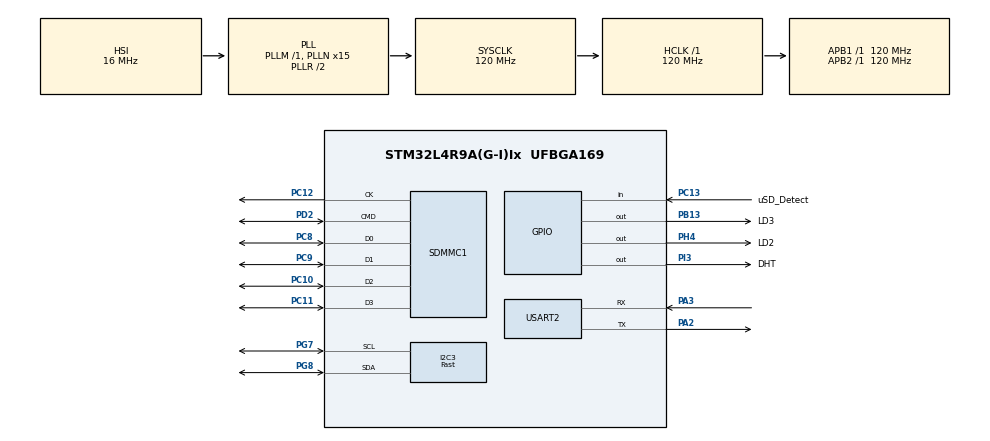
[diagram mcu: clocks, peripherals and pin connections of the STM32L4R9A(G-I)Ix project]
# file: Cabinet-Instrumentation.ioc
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FATFS.BSP.number=1
FATFS.USE_DMA_CODE_SD=1
FATFS0.BSP.STBoard=false
FATFS0.BSP.api=Unknown
FATFS0.BSP.instance=PC13
FATFS0.BSP.ip=GPIO
FATFS0.BSP.mode=Input
FATFS0.BSP.name=Detect_SDIO
FATFS0.BSP.solution=PC13
I2C3.I2C_Speed_Mode=I2C_Fast
I2C3.Timing=0x00B03FDB
Mcu.Family=STM32L4
Mcu.Name=STM32L4R9A(G-I)Ix
Mcu.Package=UFBGA169
NVIC.PriorityGroup=NVIC_PRIORITYGROUP_4
NVIC.SDMMC1_IRQn=true\:0\:0\:false\:false\:true\:true\:true\:true
NVIC.TIM2_IRQn=true\:0\:0\:false\:false\:true\:true\:true\:true
PA13\ (JTMS/SWDIO).Mode=Serial_Wire
PA13\ (JTMS/SWDIO).Signal=SYS_JTMS-SWDIO
PA14\ (JTCK/SWCLK).Mode=Serial_Wire
PA14\ (JTCK/SWCLK).Signal=SYS_JTCK-SWCLK
PA2.Mode=Asynchronous
PA2.Signal=USART2_TX
PA3.Mode=Asynchronous
PA3.Signal=USART2_RX
PB13.GPIO_Label=LD3
PB13.GPIO_Speed=GPIO_SPEED_FREQ_HIGH
PB13.PinState=GPIO_PIN_SET
PB13.Signal=GPIO_Output
PC10.Mode=SD_4_bits_Wide_bus
PC10.Signal=SDMMC1_D2
PC11.Mode=SD_4_bits_Wide_bus
PC11.Signal=SDMMC1_D3
PC12.Mode=SD_4_bits_Wide_bus
PC12.Signal=SDMMC1_CK
PC13.GPIO_Label=uSD_Detect
PC13.Signal=GPIO_Input
PC8.Mode=SD_4_bits_Wide_bus
PC8.Signal=SDMMC1_D0
PC9.Mode=SD_4_bits_Wide_bus
PC9.Signal=SDMMC1_D1
PD2.Mode=SD_4_bits_Wide_bus
PD2.Signal=SDMMC1_CMD
PG7.Mode=I2C
PG7.Signal=I2C3_SCL
PG8.Mode=I2C
PG8.Signal=I2C3_SDA
PH0-OSC_IN\ (PH0).Mode=HSE-External-Oscillator
PH0-OSC_IN\ (PH0).Signal=RCC_OSC_IN
PH1-OSC_OUT\ (PH1).Mode=HSE-External-Oscillator
PH1-OSC_OUT\ (PH1).Signal=RCC_OSC_OUT
PH4.GPIO_Label=LD2
PH4.GPIO_Speed=GPIO_SPEED_FREQ_HIGH
PH4.PinState=GPIO_PIN_SET
PH4.Signal=GPIO_Output
PI3.GPIO_Label=DHT
PI3.GPIO_Speed=GPIO_SPEED_FREQ_HIGH
PI3.PinState=GPIO_PIN_SET
PI3.Signal=GPIO_Output
ProjectManager.HeapSize=0x400
ProjectManager.StackSize=0x800
ProjectManager.TargetToolchain=STM32CubeIDE
RCC.ADCCLockSelection=RCC_ADCCLKSOURCE_SYSCLK
RCC.ADCFreq_Value=120000000
RCC.AHBFreq_Value=120000000
RCC.APB1Freq_Value=120000000
RCC.APB1TimFreq_Value=120000000
RCC.APB2Freq_Value=120000000
RCC.APB2TimFreq_Value=120000000
RCC.CortexFreq_Value=120000000
RCC.HCLKFreq_Value=120000000
RCC.HSE_VALUE=8000000
RCC.HSI48_VALUE=48000000
RCC.HSI_VALUE=16000000
RCC.LSE_VALUE=32768
RCC.MSI_VALUE=4000000
RCC.PLLN=15
RCC.PLLSAI1N=16
RCC.PLLSourceVirtual=RCC_PLLSOURCE_HSI
RCC.SYSCLKFreq_VALUE=120000000
RCC.SYSCLKSource=RCC_SYSCLKSOURCE_PLLCLK
RCC.USBFreq_Value=128000000
RCC.VCOOutputFreq_Value=240000000
SDMMC1.HardwareFlowControl=SDMMC_HARDWARE_FLOW_CONTROL_DISABLE
SYS.VoltageScaling=SYSCFG_VREFBUF_VOLTAGE_SCALE1
TIM2.AutoReloadPreload=TIM_AUTORELOAD_PRELOAD_DISABLE
TIM2.Period=1000-1
TIM2.Prescaler=120-1
TIM6.Period=0xFFFF -1
TIM6.Prescaler=120-1
USART2.Parity=PARITY_EVEN
USART2.VirtualMode-Asynchronous=VM_ASYNC
VP_FATFS_VS_SDIO.Mode=SDIO
VP_TIM2_VS_ClockSourceINT.Mode=Internal
VP_TIM6_VS_ClockSourceINT.Mode=Enable_Timer
VREF+.Mode=InternalMode
VREF+.Signal=VREFBUF_OUT
board=custom

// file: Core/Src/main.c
/* USER CODE BEGIN Header */
/**
  ******************************************************************************
  * @file           : main.c
  * @brief          : Main program body
  ******************************************************************************
  * @attention
  *
  * Copyright (c) 2023 STMicroelectronics.
  * All rights reserved.
  *
  * This software is licensed under terms that can be found in the LICENSE file
  * in the root directory of this software component.
  * If no LICENSE file comes with this software, it is provided AS-IS.
  *
  ******************************************************************************
  */
/* USER CODE END Header */
#include "main.h"
#include "fatfs.h"

/* USER CODE BEGIN Includes */
#include <stdio.h>
#include <stdbool.h>
#include <string.h>
#include <math.h>
#include "i2c-lcd.h"
#include "lis3dh.h"
#include "dht.h"
#include "tmp117.h"

/* USER CODE END Includes */

/* USER CODE BEGIN PTD */
typedef struct {
  GPIO_TypeDef* dht_port;
  uint16_t dht_pin;
  float temperature;
  float humidity;
} dht_t;
/* USER CODE END PTD */

/* USER CODE BEGIN PD */
#define DHT
#define LIS3DH
/* USER CODE END PD */

I2C_HandleTypeDef hi2c3;

SD_HandleTypeDef hsd1;

TIM_HandleTypeDef htim2;
TIM_HandleTypeDef htim6;

UART_HandleTypeDef huart2;

/* USER CODE BEGIN PV */
bool lcd=1;

/**** Timer related ****/
volatile uint32_t msec=0;
uint32_t dht_millis=0, lis3dh_millis=0, timer_millis=0;
char timer_buffer[9];

/**** DHT22 related ****/
#define DHT22_FREQ 20000 /* Get data every 1 minute */
dht_t *dht = NULL;
uint8_t dht_num;
float tmp117=0;

/**** SD Card related ****/
FIL accelerometer, thermohygrometer, dht_parameters; /* File */
FRESULT fresult; /* FatFs function common result code */
volatile uint32_t byteswritten;/* File write counts */
char read_buffer[20], acc_buffer[20], temp_buffer_sd[150], temp_buffer_lcd[20], timer_lcd[7];

/**** Accelerometer related ****/
stmdev_ctx_t dev_ctx;
int16_t data_raw_acceleration;
float acceleration_mg;

/* USER CODE END PV */

void SystemClock_Config(void);
static void MX_GPIO_Init(void);
static void MX_USART2_UART_Init(void);
static void MX_SDMMC1_SD_Init(void);
static void MX_I2C3_Init(void);
static void MX_TIM6_Init(void);
static void MX_TIM2_Init(void);
/* USER CODE BEGIN PFP */
#define PUTCHAR_PROTOTYPE int __io_putchar(int ch)

/* USER CODE END PFP */

/* USER CODE BEGIN 0 */
void MicroDelay (uint16_t time){
	__HAL_TIM_SET_COUNTER(&htim6, 0);
	while ((__HAL_TIM_GET_COUNTER(&htim6))<time);
}

void HAL_TIM_PeriodElapsedCallback(TIM_HandleTypeDef *htim){
  if (htim == &htim2){
    msec++;
  }
}

GPIO_TypeDef* GetGpioFromString(const char* gpio_string){
	if (strcmp(gpio_string,"GPIOA")==0) return GPIOA;
	else if (strcmp(gpio_string,"GPIOB")==0) return GPIOB;
	else if (strcmp(gpio_string,"GPIOC")==0) return GPIOC;
	else if (strcmp(gpio_string,"GPIOI")==0) return GPIOI;
	else {printf("Detect nothing\r\n"); return NULL;}
}
/* USER CODE END 0 */

int main(void)
{

  /* MCU Configuration--------------------------------------------------------*/

  /* Reset of all peripherals, Initializes the Flash interface and the Systick. */
  HAL_Init();

  /* Configure the system clock */
  SystemClock_Config();

  /* Initialize all configured peripherals */
  MX_GPIO_Init();
  MX_USART2_UART_Init();
  MX_SDMMC1_SD_Init();
  MX_FATFS_Init();
  MX_I2C3_Init();
  MX_TIM6_Init();
  MX_TIM2_Init();
  /* USER CODE BEGIN 2 */

  HAL_TIM_Base_Start(&htim6);

  printf("\r\n");

  /* Initialise I2C hardwares */
  if(lcd) LcdInit();
//  Lis3dhInit(&dev_ctx, &hi2c3);
//  Tmp117_Init(hi2c3);

  /* Initialise logging file */
  if(f_mount(&SDFatFS, (TCHAR const*)SDPath, 1) != FR_OK) /* Mount uSD card */
    printf("ERROR in mounting uSD CARD...\r\n");
  else {
  	printf("uSD CARD mounted SUCCESSFULLY\r\n");

  	/* Read parameters from DHT_PARA.TXT file, initialise DHTs */
  	if(f_open(&dht_parameters, "DHT_PARA.TXT", FA_READ) != FR_OK)	printf("Can't open DHT_PARA.TXT\r\n");
  	else {
  		printf("DHT_PARA.TXT can be opened\r\n");
  		/* Read number of DHTs (first line of TXT file) and re-allocated the array */
  		if (f_gets(read_buffer, sizeof(read_buffer), &dht_parameters) != NULL){
  			dht_num = atoi(strchr(read_buffer, ':')+1);
  			dht = malloc(dht_num * sizeof(dht_t));
  		}
  		/* Read DHTs GPIO Port and GPIO Pin (the remaining lines) */
  		uint8_t dht_count=0;
  		for (uint8_t i=0; i<dht_num; i++){
  			if(f_gets(read_buffer, sizeof(read_buffer), &dht_parameters) != NULL){
  				dht_count++;
  				char gpio_port[6];
  				strncpy(gpio_port, strchr(read_buffer, ',')+1, 5); /* Get string "GPIOX" from read buffer */
  				gpio_port[5]= '\0'; /* NULL Terminator */

  				dht[i].dht_port = GetGpioFromString(gpio_port);
  				dht[i].dht_pin = pow(2,atoi(strchr(strchr(read_buffer, ',')+1, ',')+1)); /* Refer to #define GPIO_PIN_x (DEC)2^x */
  				printf("%i %s%i | ",i+1,gpio_port,(uint8_t)log2(dht[i].dht_pin));
  			}
  		}
			printf("\r\nNumber of DHTs initialised from TXT file: %i\r\n",dht_num);
  		printf("Number of DHTs can be read from TXT file: %i\r\n",dht_count);
  		if (dht_count < dht_num) dht_num = dht_count;
  		f_close(&dht_parameters); /* Close TXT file */
  	}
  	/* Initialise TEMP_LOG.TXT file */
  	if(f_open(&thermohygrometer, "TEMP_LOG.TXT", FA_OPEN_APPEND | FA_WRITE) != FR_OK)	printf("Can't create/open TEMP.TXT\r\n");
  	else {
  		printf("TEMP_LOG.TXT can be created\r\n");
  		if (f_write(&thermohygrometer, "Starting logging data to TEMP_LOG.TXT\r\n", 42, (void *)&byteswritten) != FR_OK) printf("Write error\r\n");
  		else{
  			printf("TEMP_LOG.TXT created and data is written\r\n");
  			f_close(&thermohygrometer); /* Close TXT file */
  		}
  	}
  	/* Initialise ACC_LOG.TXT file */
  	if(f_open(&accelerometer, "ACC_LOG.TXT", FA_OPEN_APPEND | FA_WRITE) != FR_OK) printf("Can't create/open ACC_LOG.TXT\r\n");
  	else {
  		printf("ACC_LOG.TXT can be created\r\n");
  		if (f_write(&accelerometer, "Starting logging data to ACC_LOG.TXT...\r\n", 41, (void *)&byteswritten) != FR_OK) printf("Write error\r\n");
  		else{
  			printf("ACC_LOG.TXT created and data is written\r\n");
	  		f_close(&accelerometer); /* Close TXT file */
  		}
  	}
  }
  /* Start Timer2 */
  HAL_TIM_Base_Start_IT(&htim2);

  printf("\r\n");
  HAL_GPIO_WritePin(LD2_GPIO_Port, LD2_Pin, GPIO_PIN_RESET); /* Turn LD2 on to confirm all components are initialised succesfully */
  /* USER CODE END 2 */

  /* Infinite loop */
  /* USER CODE BEGIN WHILE */
  while (1)
  {
#if defined(LIS3DHH)
  	if(HAL_GetTick() - lis3dh_millis >= 10000){
  		lis3dh_millis = HAL_GetTick();

//  		f_open(&accelerometer, "ACC_LOG.TXT", FA_OPEN_APPEND | FA_WRITE);
  		while(HAL_GetTick() - lis3dh_millis <= 5000){
  			lis3dh_acceleration_raw_get_z(&dev_ctx, &data_raw_acceleration);
  			acceleration_mg = (lis3dh_from_fs4_hr_to_mg(data_raw_acceleration));//-(-48))*1.4359 + (-441.6);
  			sprintf(acc_buffer, "%li, %.2f\t\r\n", HAL_GetTick(), acceleration_mg);
//  			f_write(&accelerometer, acc_buffer, strlen((char *)acc_buffer), (void *)&byteswritten); /* Write to TXT file */
  			printf(acc_buffer);
  		}
//  		if (f_close(&accelerometer) == FR_OK) printf("Write and close successfully\r\n"); /* Close TXT file */
  	}
#endif

#if defined(DHT)
  	/* Get temperature/humidity data and log to TXT file */
  	if (HAL_GetTick() - dht_millis >= 5000){
  		dht_millis = HAL_GetTick();

  		/* Read temperature and humidity from DHTs */
  		for (uint8_t i=0; i<dht_num; i++){
  			Dht22(dht[i].dht_port, dht[i].dht_pin, &dht[i].temperature, &dht[i].humidity);
  		}
//  		tmp117 = TMP117_get_Temperature(hi2c3);

  		/* Create string to write to file */
  		uint8_t buffer_offset=0, buffer_offset_lcd=0;
  		buffer_offset += sprintf(temp_buffer_sd + buffer_offset, "%li", HAL_GetTick());
  		for (uint8_t i=0; i<dht_num; i++){
  			buffer_offset += sprintf(temp_buffer_sd + buffer_offset, ", %.2f,%.2f", dht[i].temperature, dht[i].humidity);
  			buffer_offset_lcd += sprintf(temp_buffer_lcd+buffer_offset_lcd, "%.1f  ",dht[i].temperature);
      }
//  		buffer_offset += sprintf(temp_buffer_sd + buffer_offset, ", %.2f", tmp117);
  		sprintf(temp_buffer_sd + buffer_offset, "\r\n");
  		sprintf(timer_lcd, "%li",(dht_millis/1000));

  		/* Logging to TXT file and debugging */
  		fresult = f_open(&thermohygrometer, "TEMP_LOG.TXT", FA_OPEN_APPEND | FA_WRITE); /* Open TXT file */
  		if (fresult != FR_OK){
  			printf("ERROR! File could not be opened! Fresuslt is %i\r\n",fresult);
//  			if(lcd) LcdSendStringAtPos(0, 15, "E");
  		}
  		else {
  			// printf("File is opened successfully!\r\n");
//  			if(lcd) LcdSendStringAtPos(0,15,"O");
  			fresult = f_write(&thermohygrometer, temp_buffer_sd, strlen(temp_buffer_sd), (void *)&byteswritten); /* Write data to TXT file */
  			if (fresult != FR_OK) printf("ERROR! File could not be written! Fresult is %i\r\n",fresult);
  			else {
  				printf("%s", temp_buffer_sd);
  				if(lcd) {
  					// LcdSendStringAtPos(0,15,"W")
  					LcdSendStringAtPos(1, 0, temp_buffer_lcd);
  					LcdSendStringAtPos(0, 10, timer_lcd);
  				}
  				fresult = f_close(&thermohygrometer); /* Close TXT file */
  				if (fresult != FR_OK) printf("ERROR! File could not be closed! Fresult is %i\r\n",fresult);
  				else {
  					// printf("File is closed successfully!\r\n");
//  					if(lcd) LcdSendStringAtPos(0,15,"C");
  				}
  			}
  		}
  	}

  	/* Display timer on LCD */
  	if (HAL_GetTick() - timer_millis >= 1000){
  		timer_millis = HAL_GetTick();
  		sprintf(timer_buffer, "%02lu:%02lu:%02lu", timer_millis/3600000, (timer_millis/60000)%60, (timer_millis/1000)%60); /* Format "HH:MM:SS" */
  		LcdSendStringAtPos(0, 0, timer_buffer);
  	}
#endif
    /* USER CODE END WHILE */

    /* USER CODE BEGIN 3 */
  }
  f_close(&accelerometer); /* Close TXT file */
  printf("Closed\r\n");
  /* USER CODE END 3 */
}

void SystemClock_Config(void)
{
  RCC_OscInitTypeDef RCC_OscInitStruct = {0};
  RCC_ClkInitTypeDef RCC_ClkInitStruct = {0};

  /** Configure the main internal regulator output voltage
  */
  if (HAL_PWREx_ControlVoltageScaling(PWR_REGULATOR_VOLTAGE_SCALE1_BOOST) != HAL_OK)
  {
    Error_Handler();
  }

  /** Initializes the RCC Oscillators according to the specified parameters
  * in the RCC_OscInitTypeDef structure.
  */
  RCC_OscInitStruct.OscillatorType = RCC_OSCILLATORTYPE_HSI;
  RCC_OscInitStruct.HSIState = RCC_HSI_ON;
  RCC_OscInitStruct.HSICalibrationValue = RCC_HSICALIBRATION_DEFAULT;
  RCC_OscInitStruct.PLL.PLLState = RCC_PLL_ON;
  RCC_OscInitStruct.PLL.PLLSource = RCC_PLLSOURCE_HSI;
  RCC_OscInitStruct.PLL.PLLM = 1;
  RCC_OscInitStruct.PLL.PLLN = 15;
  RCC_OscInitStruct.PLL.PLLP = RCC_PLLP_DIV2;
  RCC_OscInitStruct.PLL.PLLQ = RCC_PLLQ_DIV2;
  RCC_OscInitStruct.PLL.PLLR = RCC_PLLR_DIV2;
  if (HAL_RCC_OscConfig(&RCC_OscInitStruct) != HAL_OK)
  {
    Error_Handler();
  }

  /** Initializes the CPU, AHB and APB buses clocks
  */
  RCC_ClkInitStruct.ClockType = RCC_CLOCKTYPE_HCLK|RCC_CLOCKTYPE_SYSCLK
                              |RCC_CLOCKTYPE_PCLK1|RCC_CLOCKTYPE_PCLK2;
  RCC_ClkInitStruct.SYSCLKSource = RCC_SYSCLKSOURCE_PLLCLK;
  RCC_ClkInitStruct.AHBCLKDivider = RCC_SYSCLK_DIV1;
  RCC_ClkInitStruct.APB1CLKDivider = RCC_HCLK_DIV1;
  RCC_ClkInitStruct.APB2CLKDivider = RCC_HCLK_DIV1;

  if (HAL_RCC_ClockConfig(&RCC_ClkInitStruct, FLASH_LATENCY_5) != HAL_OK)
  {
    Error_Handler();
  }
}

static void MX_I2C3_Init(void)
{

  hi2c3.Instance = I2C3;
  hi2c3.Init.Timing = 0x00B03FDB;
  hi2c3.Init.OwnAddress1 = 0;
  hi2c3.Init.AddressingMode = I2C_ADDRESSINGMODE_7BIT;
  hi2c3.Init.DualAddressMode = I2C_DUALADDRESS_DISABLE;
  hi2c3.Init.OwnAddress2 = 0;
  hi2c3.Init.OwnAddress2Masks = I2C_OA2_NOMASK;
  hi2c3.Init.GeneralCallMode = I2C_GENERALCALL_DISABLE;
  hi2c3.Init.NoStretchMode = I2C_NOSTRETCH_DISABLE;
  if (HAL_I2C_Init(&hi2c3) != HAL_OK)
  {
    Error_Handler();
  }

  /** Configure Analogue filter
  */
  if (HAL_I2CEx_ConfigAnalogFilter(&hi2c3, I2C_ANALOGFILTER_ENABLE) != HAL_OK)
  {
    Error_Handler();
  }

  /** Configure Digital filter
  */
  if (HAL_I2CEx_ConfigDigitalFilter(&hi2c3, 0) != HAL_OK)
  {
    Error_Handler();
  }

}

static void MX_SDMMC1_SD_Init(void)
{

  hsd1.Instance = SDMMC1;
  hsd1.Init.ClockEdge = SDMMC_CLOCK_EDGE_RISING;
  hsd1.Init.ClockPowerSave = SDMMC_CLOCK_POWER_SAVE_DISABLE;
  hsd1.Init.BusWide = SDMMC_BUS_WIDE_4B;
  hsd1.Init.HardwareFlowControl = SDMMC_HARDWARE_FLOW_CONTROL_DISABLE;
  hsd1.Init.ClockDiv = 0;
  hsd1.Init.Transceiver = SDMMC_TRANSCEIVER_DISABLE;

}

static void MX_TIM2_Init(void)
{

  TIM_ClockConfigTypeDef sClockSourceConfig = {0};
  TIM_MasterConfigTypeDef sMasterConfig = {0};

  htim2.Instance = TIM2;
  htim2.Init.Prescaler = 120-1;
  htim2.Init.CounterMode = TIM_COUNTERMODE_UP;
  htim2.Init.Period = 1000-1;
  htim2.Init.ClockDivision = TIM_CLOCKDIVISION_DIV1;
  htim2.Init.AutoReloadPreload = TIM_AUTORELOAD_PRELOAD_DISABLE;
  if (HAL_TIM_Base_Init(&htim2) != HAL_OK)
  {
    Error_Handler();
  }
  sClockSourceConfig.ClockSource = TIM_CLOCKSOURCE_INTERNAL;
  if (HAL_TIM_ConfigClockSource(&htim2, &sClockSourceConfig) != HAL_OK)
  {
    Error_Handler();
  }
  sMasterConfig.MasterOutputTrigger = TIM_TRGO_RESET;
  sMasterConfig.MasterSlaveMode = TIM_MASTERSLAVEMODE_DISABLE;
  if (HAL_TIMEx_MasterConfigSynchronization(&htim2, &sMasterConfig) != HAL_OK)
  {
    Error_Handler();
  }

}

static void MX_TIM6_Init(void)
{

  TIM_MasterConfigTypeDef sMasterConfig = {0};

  htim6.Instance = TIM6;
  htim6.Init.Prescaler = 120-1;
  htim6.Init.CounterMode = TIM_COUNTERMODE_UP;
  htim6.Init.Period = 0xFFFF -1;
  htim6.Init.AutoReloadPreload = TIM_AUTORELOAD_PRELOAD_DISABLE;
  if (HAL_TIM_Base_Init(&htim6) != HAL_OK)
  {
    Error_Handler();
  }
  sMasterConfig.MasterOutputTrigger = TIM_TRGO_RESET;
  sMasterConfig.MasterSlaveMode = TIM_MASTERSLAVEMODE_DISABLE;
  if (HAL_TIMEx_MasterConfigSynchronization(&htim6, &sMasterConfig) != HAL_OK)
  {
    Error_Handler();
  }

}

static void MX_USART2_UART_Init(void)
{

  huart2.Instance = USART2;
  huart2.Init.BaudRate = 115200;
  huart2.Init.WordLength = UART_WORDLENGTH_8B;
  huart2.Init.StopBits = UART_STOPBITS_1;
  huart2.Init.Parity = UART_PARITY_EVEN;
  huart2.Init.Mode = UART_MODE_TX_RX;
  huart2.Init.HwFlowCtl = UART_HWCONTROL_NONE;
  huart2.Init.OverSampling = UART_OVERSAMPLING_16;
  huart2.Init.OneBitSampling = UART_ONE_BIT_SAMPLE_DISABLE;
  huart2.Init.ClockPrescaler = UART_PRESCALER_DIV1;
  huart2.AdvancedInit.AdvFeatureInit = UART_ADVFEATURE_NO_INIT;
  if (HAL_UART_Init(&huart2) != HAL_OK)
  {
    Error_Handler();
  }
  if (HAL_UARTEx_SetTxFifoThreshold(&huart2, UART_TXFIFO_THRESHOLD_1_8) != HAL_OK)
  {
    Error_Handler();
  }
  if (HAL_UARTEx_SetRxFifoThreshold(&huart2, UART_RXFIFO_THRESHOLD_1_8) != HAL_OK)
  {
    Error_Handler();
  }
  if (HAL_UARTEx_DisableFifoMode(&huart2) != HAL_OK)
  {
    Error_Handler();
  }

}

static void MX_GPIO_Init(void)
{
  GPIO_InitTypeDef GPIO_InitStruct = {0};

  /* GPIO Ports Clock Enable */
  __HAL_RCC_GPIOA_CLK_ENABLE();
  __HAL_RCC_GPIOI_CLK_ENABLE();
  __HAL_RCC_GPIOD_CLK_ENABLE();
  __HAL_RCC_GPIOC_CLK_ENABLE();
  __HAL_RCC_GPIOG_CLK_ENABLE();
  HAL_PWREx_EnableVddIO2();
  __HAL_RCC_GPIOH_CLK_ENABLE();
  __HAL_RCC_GPIOB_CLK_ENABLE();

  /*Configure GPIO pin Output Level */
  HAL_GPIO_WritePin(DHT_GPIO_Port, DHT_Pin, GPIO_PIN_SET);

  /*Configure GPIO pin Output Level */
  HAL_GPIO_WritePin(LD2_GPIO_Port, LD2_Pin, GPIO_PIN_SET);

  /*Configure GPIO pin Output Level */
  HAL_GPIO_WritePin(LD3_GPIO_Port, LD3_Pin, GPIO_PIN_RESET);

  /*Configure GPIO pin : DHT_Pin */
  GPIO_InitStruct.Pin = DHT_Pin;
  GPIO_InitStruct.Mode = GPIO_MODE_OUTPUT_PP;
  GPIO_InitStruct.Pull = GPIO_NOPULL;
  GPIO_InitStruct.Speed = GPIO_SPEED_FREQ_HIGH;
  HAL_GPIO_Init(DHT_GPIO_Port, &GPIO_InitStruct);

  /*Configure GPIO pin : uSD_Detect_Pin */
  GPIO_InitStruct.Pin = uSD_Detect_Pin;
  GPIO_InitStruct.Mode = GPIO_MODE_INPUT;
  GPIO_InitStruct.Pull = GPIO_NOPULL;
  HAL_GPIO_Init(uSD_Detect_GPIO_Port, &GPIO_InitStruct);

  /*Configure GPIO pin : LD2_Pin */
  GPIO_InitStruct.Pin = LD2_Pin;
  GPIO_InitStruct.Mode = GPIO_MODE_OUTPUT_PP;
  GPIO_InitStruct.Pull = GPIO_NOPULL;
  GPIO_InitStruct.Speed = GPIO_SPEED_FREQ_HIGH;
  HAL_GPIO_Init(LD2_GPIO_Port, &GPIO_InitStruct);

  /*Configure GPIO pin : LD3_Pin */
  GPIO_InitStruct.Pin = LD3_Pin;
  GPIO_InitStruct.Mode = GPIO_MODE_OUTPUT_PP;
  GPIO_InitStruct.Pull = GPIO_NOPULL;
  GPIO_InitStruct.Speed = GPIO_SPEED_FREQ_HIGH;
  HAL_GPIO_Init(LD3_GPIO_Port, &GPIO_InitStruct);

}

/* USER CODE BEGIN 4 */
/**
  * @brief  Retargets the C library printf function to the USART.
  * @param  None
  * @retval None
  */
PUTCHAR_PROTOTYPE
{
  /* Place your implementation of fputc here */
  /* e.g. write a character to the USART1 and Loop until the end of transmission */
  HAL_UART_Transmit(&huart2, (uint8_t *)&ch, 1, 0xFFFF);

  return ch;
}
/* USER CODE END 4 */

void Error_Handler(void)
{
  __disable_irq();
  while (1)
  {
  }
}
